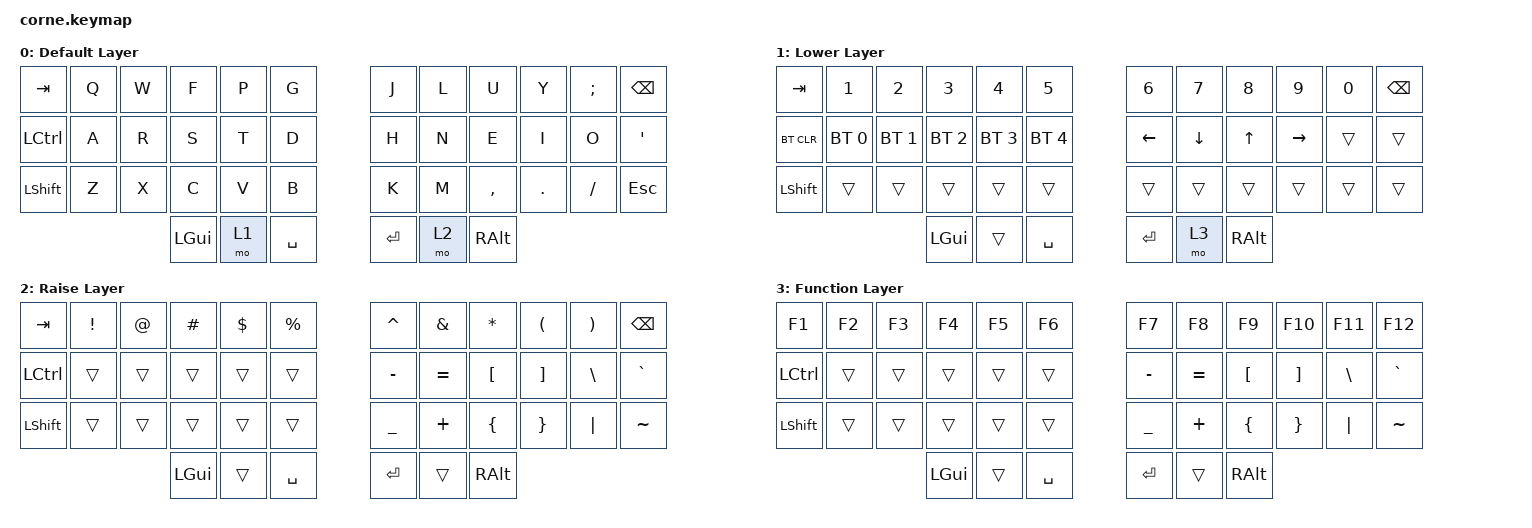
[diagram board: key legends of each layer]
/*
 * Copyright (c) 2020 The ZMK Contributors
 *
 * SPDX-License-Identifier: MIT
 */

#include <behaviors.dtsi>
#include <dt-bindings/zmk/keys.h>
#include <dt-bindings/zmk/bt.h>

/ {
        keymap {
                compatible = "zmk,keymap";

                default_layer {
                        display-name = "Default Layer";
// -----------------------------------------------------------------------------------------
// |  TAB |  Q  |  W  |  E  |  R  |  T  |   |  Y  |  U   |  I  |  O  |  P  | BSPC |
// | CTRL |  A  |  S  |  D  |  F  |  G  |   |  H  |  J   |  K  |  L  |  ;  |  '   |
// | SHFT |  Z  |  X  |  C  |  V  |  B  |   |  N  |  M   |  ,  |  .  |  /  | ESC  |
//                    | GUI | LWR | SPC |   | ENT | RSE  | ALT |
                        bindings = <
   &kp TAB   &kp Q &kp W &kp F &kp P &kp G   &kp J &kp L  &kp U     &kp Y   &kp SEMI    &kp BSPC
   &kp LCTRL &kp A &kp R &kp S &kp T &kp D   &kp H &kp N  &kp E     &kp I   &kp O    &kp SQT
   &kp LSHFT &kp Z &kp X &kp C &kp V &kp B   &kp K &kp M  &kp COMMA &kp DOT &kp FSLH &kp ESC
                  &kp LGUI &mo 1 &kp SPACE   &kp RET &mo 2 &kp RALT
                        >;
                };
                lower_layer {
                        display-name = "Lower Layer";
// -----------------------------------------------------------------------------------------
// |  TAB |  1  |  2  |  3  |  4  |  5  |   |  6  |  7  |  8  |  9  |  0  | BSPC |
// | BTCLR| BT1 | BT2 | BT3 | BT4 | BT5 |   | LFT | DWN |  UP | RGT |     |      |
// | SHFT |     |     |     |     |     |   |     |     |     |     |     |      |
//                    | GUI |     | SPC |   | ENT |     | ALT |
                        bindings = <
   &kp TAB    &kp N1       &kp N2       &kp N3       &kp N4       &kp N5         &kp N6   &kp N7   &kp N8 &kp N9    &kp N0 &kp BSPC
   &bt BT_CLR &bt BT_SEL 0 &bt BT_SEL 1 &bt BT_SEL 2 &bt BT_SEL 3 &bt BT_SEL 4   &kp LEFT &kp DOWN &kp UP &kp RIGHT &trans &trans
   &kp LSHFT  &trans       &trans       &trans       &trans       &trans         &trans   &trans   &trans &trans    &trans &trans
                                    &kp LGUI     &trans       &kp SPACE      &kp RET  &mo 3   &kp RALT
                        >;
                };

                raise_layer {
                        display-name = "Raise Layer";
// -----------------------------------------------------------------------------------------
// |  TAB |  !  |  @  |  #  |  $  |  %  |   |  ^  |  &  |  *  |  (  |  )  | BSPC |
// | CTRL |     |     |     |     |     |   |  -  |  =  |  [  |  ]  |  \  |  `   |
// | SHFT |     |     |     |     |     |   |  _  |  +  |  {  |  }  | "|" |  ~   |
//                    | GUI |     | SPC |   | ENT |     | ALT |
                        bindings = <
   &kp  TAB  &kp EXCL &kp AT &kp HASH &kp DLLR &kp PRCNT   &kp CARET &kp AMPS  &kp ASTRK &kp LPAR &kp RPAR &kp BSPC
   &kp LCTRL &trans   &trans &trans   &trans   &trans      &kp MINUS &kp EQUAL &kp LBKT  &kp RBKT &kp BSLH &kp GRAVE
   &kp LSHFT &trans   &trans &trans   &trans   &trans      &kp UNDER &kp PLUS  &kp LBRC  &kp RBRC &kp PIPE &kp TILDE
                             &kp LGUI &trans   &kp SPACE   &kp RET   &trans    &kp RALT
                        >;
                };

                function_layer {
                        display-name = "Function Layer";
// -----------------------------------------------------------------------------------------
// |  TAB |  !  |  @  |  #  |  $  |  %  |   |  ^  |  &  |  *  |  (  |  )  | BSPC |
// | CTRL |     |     |     |     |     |   |  -  |  =  |  [  |  ]  |  \  |  `   |
// | SHFT |     |     |     |     |     |   |  _  |  +  |  {  |  }  | "|" |  ~   |
//                    | GUI |     | SPC |   | ENT |     | ALT |
                        bindings = <
   &kp  F1  &kp F2 &kp F3 &kp F4 &kp F5 &kp F6   &kp F7 &kp F8  &kp F9 &kp F10 &kp F11 &kp F12
   &kp LCTRL &trans   &trans &trans   &trans   &trans      &kp MINUS &kp EQUAL &kp LBKT  &kp RBKT &kp BSLH &kp GRAVE
   &kp LSHFT &trans   &trans &trans   &trans   &trans      &kp UNDER &kp PLUS  &kp LBRC  &kp RBRC &kp PIPE &kp TILDE
                             &kp LGUI &trans   &kp SPACE   &kp RET   &trans    &kp RALT
                        >;
                };
        };
};
